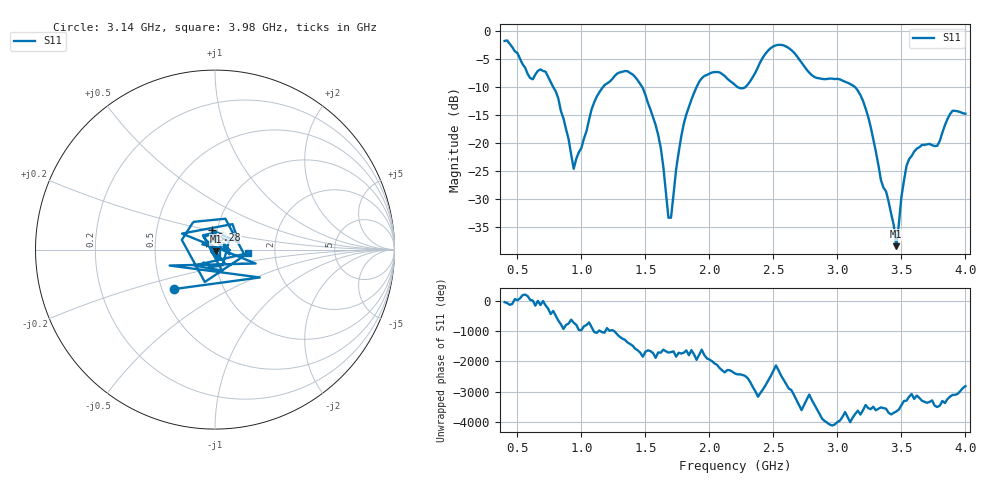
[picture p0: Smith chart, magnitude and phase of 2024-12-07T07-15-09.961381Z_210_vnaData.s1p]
!Created with skrf (http://scikit-rf.org).
# Hz S RI R 50.0
!freq ReS11 ImS11
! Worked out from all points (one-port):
!   181 points, 400 MHz to 4 GHz, reference 50 ohm
!   lowest |S11| = -38.5 dB at 3.46 GHz (marker M1), VSWR 1.02, Z = 50.6 - j1.03 ohm
!   |S11| at or under -10 dB: 780 MHz to 1.168 GHz (388.1 MHz wide, 39.8 % of centre); 1.475 GHz to 1.899 GHz (424.1 MHz wide, 25.1 % of centre); 3.139 GHz to end of sweep (the widest 3 of 4)
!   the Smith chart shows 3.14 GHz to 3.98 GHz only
!   S11 on the Smith chart (normalised r, x): 3.14 GHz: 0.58, -0.28; 3.28 GHz: 0.95, +0.21; 3.98 GHz: 1.45, -0.06
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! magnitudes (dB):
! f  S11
! 400 MHz  -1.7
! 600 MHz  -8.4
! 720 MHz  -7.2
! 860 MHz  -15.6
! 940 MHz  -24.6
! 1.12 GHz  -11.7
! 1.3 GHz  -7.4
! 1.44 GHz  -8.8
! 1.56 GHz  -15.4
! 1.62 GHz  -20.9
! 1.68 GHz  -33.4
! 1.7 GHz  -33.4
! 1.76 GHz  -21.7
! 1.82 GHz  -14.9
! 1.94 GHz  -8.4
! 2.2 GHz  -9.6
! 2.28 GHz  -10.0
! 2.5 GHz  -2.7
! 2.66 GHz  -3.8
! 2.82 GHz  -8.2
! 3.1 GHz  -9.4
! 3.14 GHz  -10.0
! 3.28 GHz  -19.3
! 3.46 GHz  -38.5
! 3.5 GHz  -29.7
! 3.56 GHz  -22.9
! 3.98 GHz  -14.7
! 4 GHz  -14.8
